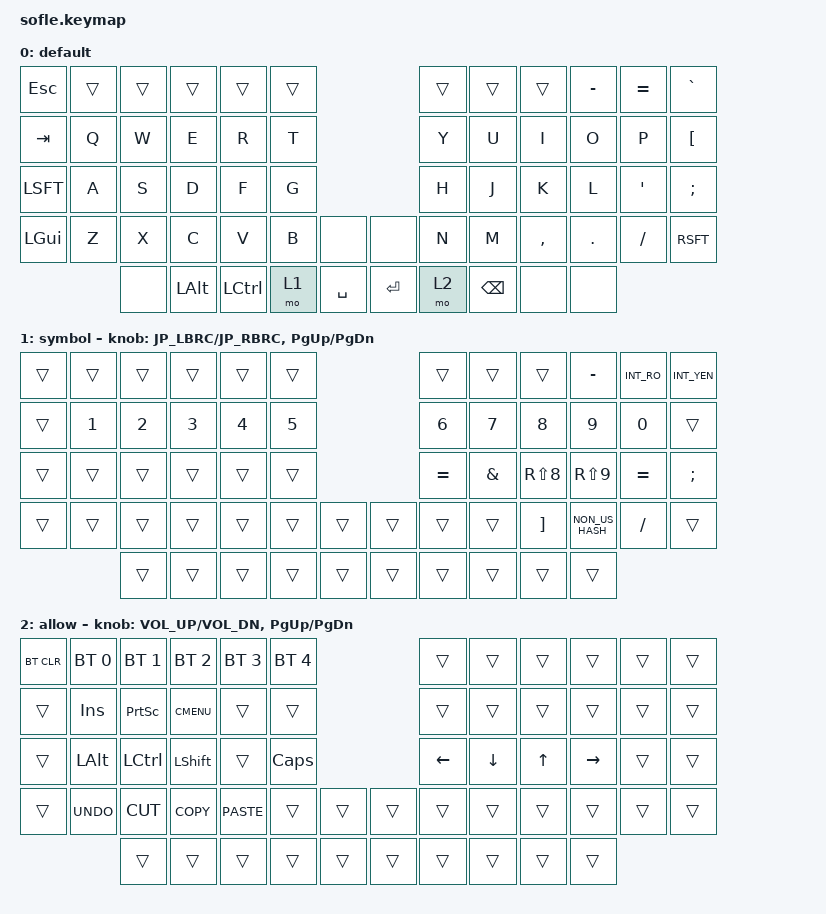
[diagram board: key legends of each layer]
/*
 * Copyright (c) 2020 The ZMK Contributors
 *
 * SPDX-License-Identifier: MIT
 *
 */

// JP KEYCODE
#define JP_ZEN      GRAVE       // Zenkaku/Hankaku
#define JP_MINUS    MINUS       // - =
#define JP_CIRC     EQUAL       // ^ ~
#define JP_YEN      INT_YEN     // / |
#define JP_AT       LBKT        // @ `
#define JP_LPAR     RS(N9)   // )
#define JP_RPAR     RS(N8)   // (
#define JP_LBRC     RBKT        // }
#define JP_RBRC     NON_US_HASH // {
#define JP_SEMI     SEMI        // ; +
#define JP_COLON    QUOT        // : *
#define JP_BSLH     INT_RO      // /
#define JP_MHEN     INT_5       // MUHENKAN
#define JP_HENK     INT_4       // HENKAN
#define JP_HIRA     INT_2       // HIRA/KATA

// Layer define
#define SYMBL       &mo 1
#define ALLOW       &mo 2
#define FUNCT       &mo 3


#include <behaviors.dtsi>
#include <dt-bindings/zmk/keys.h>
#include <dt-bindings/zmk/bt.h>

/ {
    keymap {
        compatible = "zmk,keymap";

        // ------------------------------------------------------------------------------------------------------------
        // |  ESC  |  1  |  2  |  3   |  4   |  5   |                   |  6   |  7    |  8    |      |   &   |  ZEN  |
        // |  TAB  |  Q  |  W  |  E   |  R   |  T   |                   |  Y   |  U    |  I    |  O   |   P   |   @   |
        // | SHIFT |  A  |  S  |  D   |  F   |  G   |                   |  H   |  J    |  K    |  L   |   ;   |   '   |
        // |  GUI  |  Z  |  X  |  C   |  V   |  B   |  MUTE  |  |       |  N   |  M    |  ,    |  .   |   /   | SHIFT |
        //               | GUI | ALT  | CTRL | LOWER|  ENTER |  | SPACE | RAISE| CTRL  | ALT   | GUI  |
        default {
            bindings = <
&kp ESC  &trans &trans   &trans   &trans    &trans                   &trans  &trans   &trans    &kp JP_MINUS &kp JP_CIRC    &kp JP_ZEN
&kp TAB  &kp Q  &kp W    &kp E    &kp R     &kp T                    &kp Y   &kp U    &kp I     &kp O        &kp P          &kp JP_AT
&kp LSFT &kp A  &kp S    &kp D    &kp F     &kp G                    &kp H   &kp J    &kp K     &kp L        &kp JP_COLON   &kp JP_SEMI
&kp LGUI &kp Z  &kp X    &kp C    &kp V     &kp B  &none     &none   &kp N   &kp M    &kp COMMA &kp DOT      &kp FSLH       &kp RSFT
                &none    &kp LALT &kp LCTRL &mo 1  &kp SPACE &kp RET &mo 2   &kp BSPC &none     &none
            >;

            sejnsor-bindings = <&inc_dec_kp LC(SEMI) MINUS &inc_dec_kp PG_UP PG_DN>;
        };

        // ------------------------------------------------------------------------------------------------------------
        // |       |     |     |      |      |      |                   |      |       |       |   -  |   &   |   /   |
        // |       |  1  |  2  |  3   |  4   |  5   |                   |   6  |   7   |   8   |   9  |   0   |   ;   |
        // |       |  !  |  @  |  #   |  $   |  %   |                   |  ^   |  &    |  (    |  )   |   )   |   :   |
        // |       |  =  |  -  |  +   |  {   |  }   |        |  |       |      |       |  [    |  ]   |   /   |   \   |
        //               |     |      |      |      |        |  |       |      |       |       |      |
        symbol {
            bindings = <
&trans    &trans    &trans    &trans      &trans    &trans                    &trans      &trans   &trans        &kp JP_MINUS  &kp INT_RO   &kp JP_YEN
&trans    &kp N1    &kp N2    &kp N3      &kp N4    &kp N5                    &kp N6      &kp N7   &kp N8        &kp N9        &kp N0       &trans
&trans    &trans    &trans    &trans      &trans    &trans                    &kp JP_CIRC &kp AMPS &kp JP_RPAR   &kp JP_LPAR   &kp JP_CIRC  &kp JP_SEMI
&trans    &trans    &trans    &trans      &trans    &trans    &trans   &trans &trans      &trans   &kp JP_LBRC   &kp JP_RBRC   &kp SLASH    &trans
                    &trans    &trans      &trans    &trans    &trans   &trans &trans      &trans   &trans        &trans
            >;

            sensor-bindings = <&inc_dec_kp JP_LBRC JP_RBRC &inc_dec_kp PG_UP PG_DN>;
        };

// ------------------------------------------------------------------------------------------------------------
// |BTCLR| BT1  | BT2  |  BT3  |  BT4  |  BT5 |                |      |      |       |      |       |       |
// |     | INS  | PSCR | GUI   |       |      |                |      |      |       |      |       |       |
// |     | ALT  | CTRL | SHIFT |       | CAPS |                |  <-  |  v   |   ^   |  ->  |       |
// |     | UNDO | CUT  | COPY  | PASTE |      |      |  |      |      |      |       |      |       |       |
//              |      |       |       |      |      |  |      |      |      |       |      |
        allow {
            bindings = <
&bt BT_CLR &bt BT_SEL 0 &bt BT_SEL 1 &bt BT_SEL 2 &bt BT_SEL 3 &bt BT_SEL 4             &trans    &trans    &trans   &trans    &trans  &trans
&trans     &kp INS      &kp PSCRN    &kp K_CMENU  &trans       &trans                   &trans    &trans    &trans   &trans    &trans  &trans
&trans     &kp LALT     &kp LCTRL    &kp LSHFT    &trans       &kp CLCK                 &kp LEFT  &kp DOWN  &kp UP   &kp RIGHT &trans  &trans
&trans     &kp K_UNDO   &kp K_CUT    &kp K_COPY   &kp K_PASTE  &trans  &trans   &trans  &trans    &trans    &trans   &trans    &trans  &trans
                        &trans       &trans       &trans       &trans  &trans   &trans  &trans    &trans    &trans   &trans
            >;

            sensor-bindings = <&inc_dec_kp C_VOL_UP C_VOL_DN &inc_dec_kp PG_UP PG_DN>;
        };

    };
};
